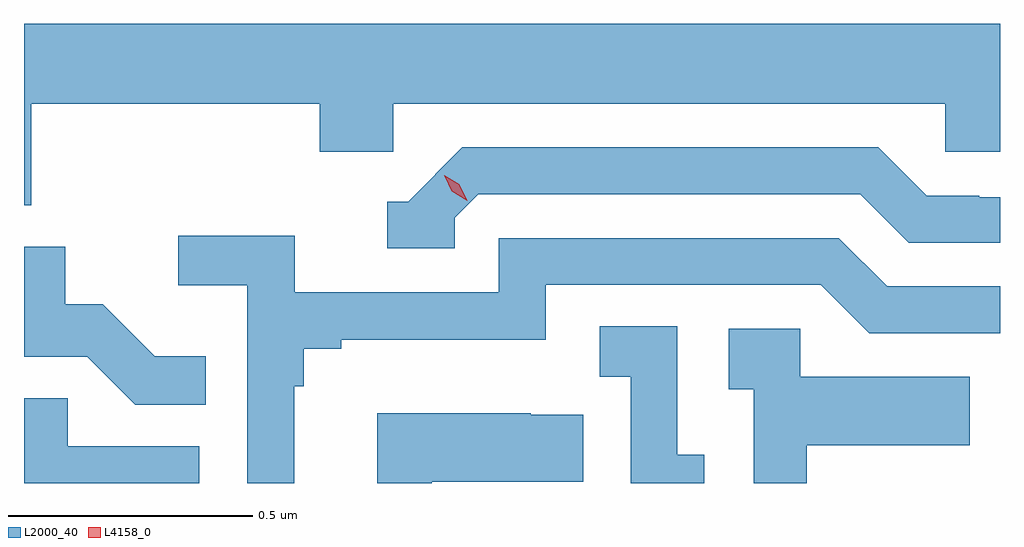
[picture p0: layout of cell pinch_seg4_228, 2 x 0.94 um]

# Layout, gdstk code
import gdstk
lib = gdstk.Library(unit=1e-6, precision=1e-09)
def P(c, l, *ps):  # polygons
    for p in ps: c.add(gdstk.Polygon(p, *l))
L2000_40 = (2000, 40)
L4158_0 = (4158, 0)

pinch_seg4_228 = lib.new_cell('pinch_seg4_228')
P(pinch_seg4_228, L2000_40, [(993.884,828.788),(994.475,828.788),(994.475,828.69),(994.626,828.69),(994.626,828.788),(995.757,828.788),(995.757,828.69),(995.869,828.69),(995.869,828.952),(993.869,828.952),(993.869,828.58),(993.884,828.58)],
  [(994.752,828.555),(994.8,828.603),(995.583,828.603),(995.682,828.504),(995.869,828.504),(995.869,828.597),(995.826,828.597),(995.826,828.6),(995.719,828.6),(995.62,828.699),(994.767,828.699),(994.656,828.588),(994.613,828.588),(994.613,828.492),(994.752,828.492)],
  [(994.423,828.209),(994.442,828.209),(994.442,828.286),(994.519,828.286),(994.519,828.305),(994.938,828.305),(994.938,828.417),(995.502,828.417),(995.601,828.318),(995.869,828.318),(995.869,828.414),(995.638,828.414),(995.539,828.513),(994.842,828.513),(994.842,828.402),(994.424,828.402),(994.424,828.518),(994.185,828.518),(994.185,828.416),(994.326,828.416),(994.326,828.011),(994.423,828.011)],
  [(994.241,828.271),(994.137,828.271),(994.03,828.378),(993.954,828.378),(993.954,828.495),(993.869,828.495),(993.869,828.27),(993.999,828.27),(994.097,828.172),(994.241,828.172)],
  [(995.263,828.069),(995.208,828.069),(995.208,828.332),(995.049,828.332),(995.049,828.229),(995.112,828.229),(995.112,828.011),(995.263,828.011)],
  [(995.473,828.089),(995.807,828.089),(995.807,828.229),(995.46,828.229),(995.46,828.327),(995.313,828.327),(995.313,828.203),(995.364,828.203),(995.364,828.011),(995.473,828.011)],
  [(994.228,828.087),(993.959,828.087),(993.959,828.185),(993.869,828.185),(993.869,828.011),(994.228,828.011)],
  [(994.705,828.014),(995.015,828.014),(995.015,828.151),(994.907,828.151),(994.907,828.154),(994.593,828.154),(994.593,828.011),(994.705,828.011)])
P(pinch_seg4_228, L4158_0, [(994.777,828.59),(994.746,828.609),(994.73,828.642),(994.73,828.642),(994.73,828.642),(994.761,828.623),(994.777,828.59),(994.777,828.59)])

lib.write_gds('pinch_seg4_228.gds')
